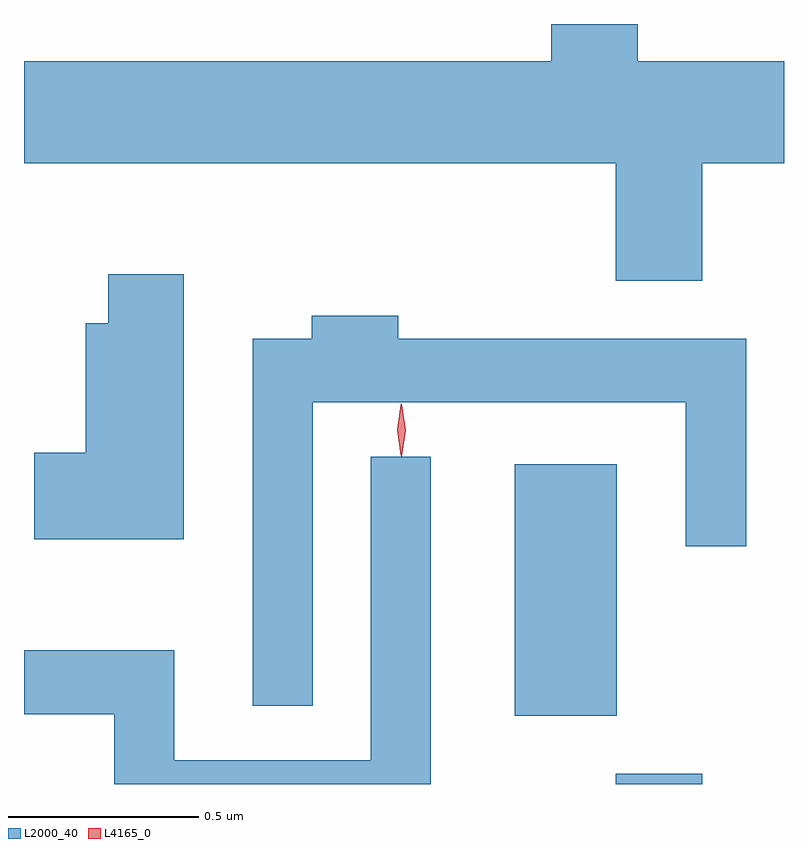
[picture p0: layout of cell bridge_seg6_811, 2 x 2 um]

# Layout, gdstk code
import gdstk
lib = gdstk.Library(unit=1e-6, precision=1e-09)
def R(c, l, rs):  # rectangles x0, y0, x1, y1
    for r in rs: c.add(gdstk.rectangle(r[:2], r[2:], *l))
def P(c, l, *ps):  # polygons
    for p in ps: c.add(gdstk.Polygon(p, *l))
L2000_40 = (2000, 40)
L4165_0 = (4165, 0)

bridge_seg6_811 = lib.new_cell('bridge_seg6_811')
R(bridge_seg6_811, L2000_40, [(429.381,1590.582,429.609,1590.609), (429.116,1590.761,429.384,1591.424)])
P(bridge_seg6_811, L2000_40, [(429.609,1592.216),(429.824,1592.216),(429.824,1592.484),(429.439,1592.484),(429.439,1592.582),(429.211,1592.582),(429.211,1592.484),(427.824,1592.484),(427.824,1592.216),(429.381,1592.216),(429.381,1591.906),(429.609,1591.906)],
  [(428.244,1591.924),(428.046,1591.924),(428.046,1591.794),(427.986,1591.794),(427.986,1591.454),(427.851,1591.454),(427.851,1591.226),(428.244,1591.226)],
  [(428.584,1591.586),(429.566,1591.586),(429.566,1591.208),(429.724,1591.208),(429.724,1591.754),(428.809,1591.754),(428.809,1591.814),(428.581,1591.814),(428.581,1591.754),(428.426,1591.754),(428.426,1590.788),(428.584,1590.788)],
  [(428.894,1591.443),(428.736,1591.443),(428.736,1590.644),(428.219,1590.644),(428.219,1590.934),(427.824,1590.934),(427.824,1590.766),(428.061,1590.766),(428.061,1590.582),(428.894,1590.582)])
P(bridge_seg6_811, L4165_0, [(428.817,1591.444),(428.808,1591.513),(428.817,1591.582),(428.818,1591.583),(428.818,1591.582),(428.828,1591.513),(428.818,1591.444),(428.818,1591.444)],
  [(428.816,1591.447),(428.816,1591.447),(428.806,1591.514),(428.816,1591.58),(428.816,1591.581),(428.817,1591.58),(428.826,1591.514),(428.817,1591.447)])

lib.write_gds('bridge_seg6_811.gds')
